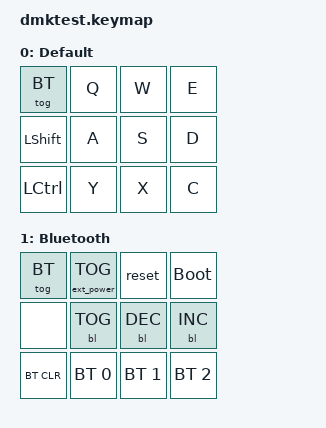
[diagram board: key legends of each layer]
#include <behaviors.dtsi>
#include <dt-bindings/zmk/keys.h>
#include <dt-bindings/zmk/bt.h>
#include <dt-bindings/zmk/backlight.h>
#include <dt-bindings/zmk/ext_power.h>

#define DEFAULT 0
#define BT   1

/ {
    keymap {
        compatible = "zmk,keymap";

        default_layer {
            label = "Default";
            bindings = <
    &tog BT      &kp Q    &kp W   &kp E
    &kp LSHIFT  &kp A    &kp S   &kp D
    &kp LCTRL   &kp Y    &kp X   &kp C
            >;

        };

        bt_layer {
            label = "Bluetooth";
            bindings = <
    &tog BT     &ext_power EP_TOG       &reset       &bootloader
    &none       &bl BL_TOG              &bl BL_DEC   &bl BL_INC
    &bt BT_CLR  &bt BT_SEL 0            &bt BT_SEL 1 &bt BT_SEL 2
            >;
        };

    };
};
